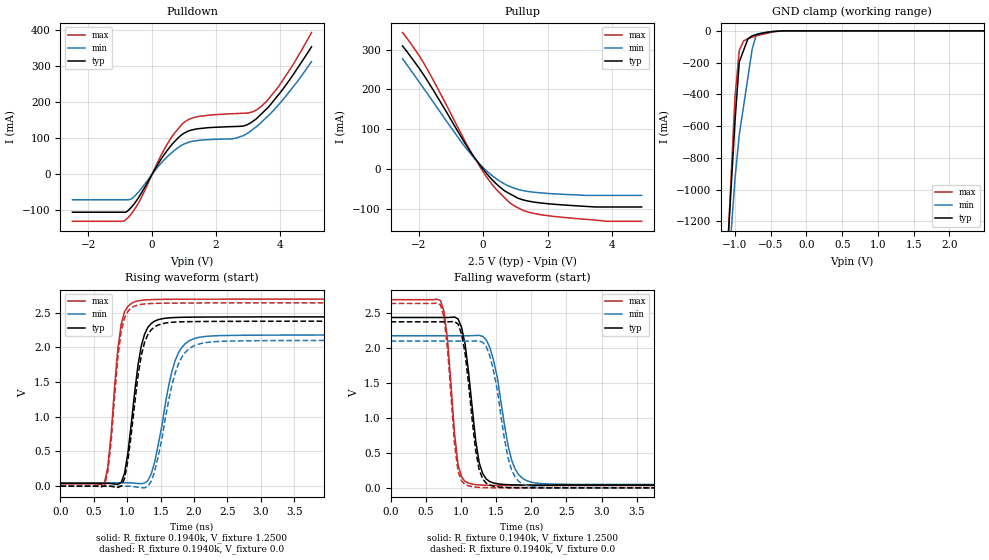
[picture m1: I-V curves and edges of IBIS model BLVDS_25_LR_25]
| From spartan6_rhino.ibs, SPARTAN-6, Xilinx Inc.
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|   Model BLVDS_25_LR_25
[Model]  BLVDS_25_LR_25
Model_type I/O
Polarity   Non-Inverting
Enable   Active-Low
Vinl =   1.0250V
Vinh =   1.3750V
Vmeas =  0.9000V
Cref =   0.0F
Rref =   1.0000M
Vref =   0.0V
C_comp   6.08pF   5.79pF   6.38pF
|C_comp  6.55pF   6.18pF   6.90pF
[Temperature Range]   25.0000   85.0000   0.0
[Voltage Range]   2.5000V   2.3000V   2.7000V
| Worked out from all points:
|   slope of the pulldown table from 0 to 0.375 V, typ, clamps not added: 6.95 ohm
|   slope of the pullup table from 0 to 0.375 V, typ, clamps not added: 10.9 ohm
|   GND clamp passes 1 mA (typ) near -0.36 V on its own axis
|   rising waveform, R_fixture 0.1940k, V_fixture 1.2500: 20-80 % time 185ps typ, 262ps min, 146ps max; typ from 0.039 V to 2.44 V
|   rising waveform, R_fixture 0.1940k, V_fixture 0.0: 20-80 % time 191ps typ, 275ps min, 148ps max; typ from 0 V to 2.38 V
|   falling waveform, R_fixture 0.1940k, V_fixture 1.2500: 20-80 % time 163ps typ, 222ps min, 128ps max; typ from 2.44 V to 0.039 V
|   falling waveform, R_fixture 0.1940k, V_fixture 0.0: 20-80 % time 159ps typ, 211ps min, 125ps max; typ from 2.38 V to 0 V
[Pulldown]
|Voltage   I(typ)   I(min)   I(max)
-2.5V     -105.1mA   -70.54mA   -130.2mA
-820mV    -105.1mA   -70.54mA   -125.5mA
-660mV    -92.1mA    -68.65mA   -109.9mA
-420mV    -63.98mA   -48.6mA    -78.57mA
460mV     64.19mA    47.2mA     81.13mA
940mV     109.8mA    80.64mA    138.6mA
1.5V      126.3mA    93.95mA    160.2mA
2.62V     132mA      99.75mA    167.7mA
2.94V     135.3mA    110.4mA    168.9mA
3.34V     159.4mA    136.5mA    182mA
3.98V     221.5mA    193.4mA    244.1mA
5V        352.5mA    311.4mA    391.7mA
[Pullup]
|Voltage   I(typ)   I(min)   I(max)
-2.5V     309.2mA    277.2mA    342.8mA
-2.04V    259.5mA    225.1mA    291.5mA
-1.8V     231mA      197.7mA    260.2mA
-680mV    80.68mA    68.66mA    88.62mA
-280mV    30.46mA    27.71mA    30.13mA
280mV     -26.57mA   -16.35mA   -38.53mA
600mV     -50.36mA   -34.24mA   -66.53mA
840mV     -62.4mA    -43.81mA   -84.98mA
1.24V     -77.22mA   -53.93mA   -103.5mA
1.8V      -85.05mA   -59.76mA   -114.6mA
3.8V      -95.1mA    -66mA      -131mA
4.92V     -95.1mA    -66mA      -131mA
[GND_clamp]
|Voltage   I(typ)   I(min)   I(max)
-2.5V     -12.25A    -10.32A    -14.42A
-1.12V    -1.497A    -1.678A    -1.528A
-1.06V    -1.032A    -1.304A    -971.3mA
-1V       -568.3mA   -930.7mA   -417.4mA
-940mV    -195.3mA   -654mA     -122.8mA
-880mV    -123.1mA   -474.7mA   -63.73mA
-820mV    -50.89mA   -295.3mA   -49.28mA
-760mV    -31.14mA   -115.9mA   -39.79mA
-700mV    -23.48mA   -21.72mA   -31.25mA
-460mV    -3.915mA   -4.028mA   -6.674mA
-220mV    -13.63uA   -24.4uA    -47.55uA
2.48V     24.84nA    281.3nA    36.05nA
[POWER_clamp]
|Voltage   I(typ)   I(min)   I(max)
-2.49V    0A         0A         0A
-2.46V    0A         0A         0A
-2.43V    0A         0A         0A
0V        0A         0A         0A
[Ramp]
| variable   typ   min   max
dV/dt_r  1.4262/0.1863n   1.2606/0.2720n   1.5846/0.1381n
dV/dt_f  1.4522/0.1647n   1.2919/0.2252n   1.6080/0.1265n
R_load = 0.1940k
[Rising Waveform]
R_fixture= 0.1940k
V_fixture= 1.2500
V_fixture_min= 1.1500
V_fixture_max= 1.3500
|time   V(typ)   V(min)   V(max)
0s        39.4mV     48.8mV     34.01mV
660ps     39.43mV    48.79mV    54.67mV
710ps     40.05mV    48.79mV    279.9mV
910ps     53.66mV    48.75mV    2.335V
1.06ns    893.2mV    47.43mV    2.633V
1.21ns    2.018V     35.69mV    2.678V
1.31ns    2.289V     81.31mV    2.686V
1.67ns    2.428V     1.657V     2.693V
1.92ns    2.435V     2.09V      2.694V
5ns       2.44V      2.179V     2.695V
[Rising Waveform]
R_fixture= 0.1940k
V_fixture= 0.0
|time   V(typ)   V(min)   V(max)
0s        0V         0V         0V
660ps     40.9uV     -8.143uV   12.87mV
760ps     -2.405mV   -6.29uV    649.1mV
910ps     1.254mV    -28.36uV   2.234V
1.01ns    369.7mV    386.8uV    2.517V
1.11ns    1.173V     -7.951mV   2.595V
1.31ns    2.186V     -1.675mV   2.629V
1.72ns    2.364V     1.638V     2.638V
1.97ns    2.371V     2.007V     2.639V
5ns       2.377V     2.101V     2.641V
[Falling Waveform]
R_fixture= 0.1940k
V_fixture= 1.2500
V_fixture_min= 1.1500
V_fixture_max= 1.3500
|time   V(typ)   V(min)   V(max)
0s        2.44V      2.179V     2.695V
710ps     2.44V      2.179V     2.682V
810ps     2.439V     2.179V     2.121V
960ps     2.419V     2.179V     326.8mV
1.06ns    2.055V     2.179V     91.47mV
1.26ns    360.3mV    2.184V     42.22mV
1.41ns    90.5mV     2.013V     36.43mV
1.72ns    43.6mV     399.5mV    34.32mV
1.92ns    40.63mV    110.4mV    34.13mV
5ns       39.43mV    48.86mV    34.08mV
[Falling Waveform]
R_fixture= 0.1940k
V_fixture= 0.0
|time   V(typ)   V(min)   V(max)
0s        2.378V     2.102V     2.641V
710ps     2.378V     2.102V     2.62V
810ps     2.377V     2.102V     1.987V
960ps     2.345V     2.102V     233.8mV
1.06ns    1.923V     2.102V     47.17mV
1.26ns    258.7mV    2.104V     6.896mV
1.41ns    40.63mV    1.894V     2.015mV
1.67ns    4.468mV    432.9mV    322.8uV
1.87ns    1.218mV    61mV       111.3uV
5ns       59.42uV    54.23uV    41.89uV
